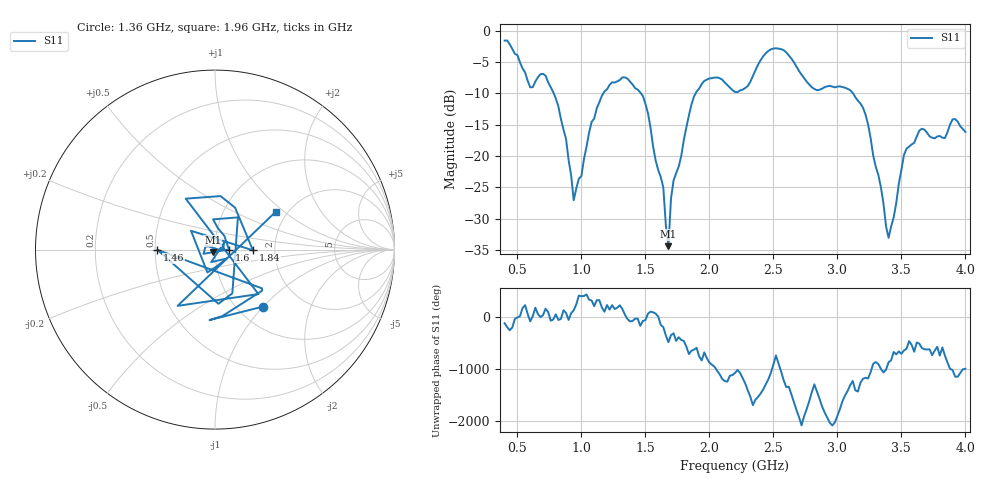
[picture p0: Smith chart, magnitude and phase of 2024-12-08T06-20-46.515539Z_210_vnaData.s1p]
!Created with skrf (http://scikit-rf.org).
# Hz S RI R 50.0
!freq ReS11 ImS11
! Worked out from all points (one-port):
!   181 points, 400 MHz to 4 GHz, reference 50 ohm
!   lowest |S11| = -34.4 dB at 1.68 GHz (marker M1), VSWR 1.04, Z = 48.7 - j1.39 ohm
!   |S11| at or under -10 dB: 784.2 MHz to 1.171 GHz (386.5 MHz wide, 39.5 % of centre); 1.466 GHz to 1.892 GHz (426.4 MHz wide, 25.4 % of centre); 3.123 GHz to end of sweep
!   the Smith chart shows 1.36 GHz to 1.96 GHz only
!   S11 on the Smith chart (normalised r, x): 1.36 GHz: 1.30, -1.00; 1.46 GHz: 0.51, -0.00; 1.6 GHz: 1.17, +0.00; 1.84 GHz: 1.54, -0.01; 1.96 GHz: 1.74, +0.87
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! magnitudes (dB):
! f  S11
! 400 MHz  -1.6
! 600 MHz  -9.0
! 720 MHz  -7.2
! 860 MHz  -15.8
! 940 MHz  -27.0
! 1.12 GHz  -12.4
! 1.3 GHz  -7.9
! 1.36 GHz  -7.6
! 1.46 GHz  -9.8
! 1.6 GHz  -22.2
! 1.64 GHz  -25.0
! 1.68 GHz  -34.4
! 1.7 GHz  -26.8
! 1.76 GHz  -21.7
! 1.84 GHz  -13.5
! 1.96 GHz  -8.0
! 2.2 GHz  -9.8
! 2.48 GHz  -3.0
! 2.66 GHz  -5.0
! 2.82 GHz  -9.3
! 3.1 GHz  -9.5
! 3.22 GHz  -13.4
! 3.4 GHz  -33.0
! 3.52 GHz  -19.8
! 3.56 GHz  -18.5
! 3.84 GHz  -17.1
! 3.9 GHz  -14.1
! 4 GHz  -16.1
